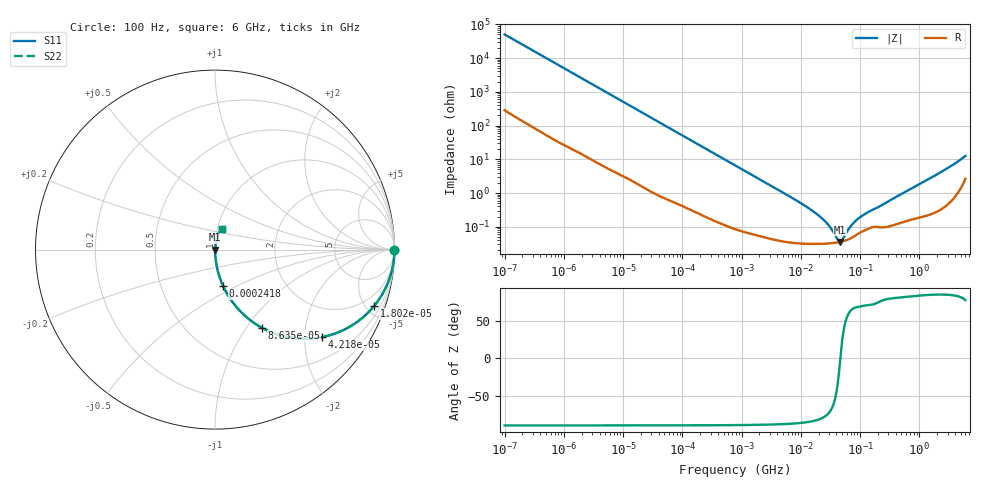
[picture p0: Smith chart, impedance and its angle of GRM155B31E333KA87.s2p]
!Murata Part Number: GRM155B31E333KA87
!These Parameters are Measured in Series Mode Connection
!Data Generated on Mar 30, 2021
!  o--ll--o
!Port1  Port2
!  o------o
!Operation Temp=25[degC], DC Bias Voltage=0[V]
!Freq. Start=100[Hz] Stop=6[GHz] 401[Steps]
# Hz S RI R 50
!Freq.(Hz) S11(Real) S11(Imag) S21(Real) S21(Imag) S12(Real) S12(Imag) S22(Real) S22(Imag)
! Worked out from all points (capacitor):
!   401 points, 100 Hz to 6 GHz, reference 50 ohm
!   read as one part in series: C = 31.8 nF near 109 Hz
!   lowest |Z| = 35.8 mohm at 45.56 MHz (marker M1)
!   series resonance near 46.48 MHz, so ESL is about 370 pH
!   S11 on the Smith chart (normalised r, x): 100 Hz: open; 18.02 kHz: 1.04, -5.65; 42.18 kHz: 1.02, -2.42; 86.35 kHz: 1.01, -1.19; 241.8 kHz: 1.00, -0.43; 6 GHz: 1.05, +0.25
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100  1 -0.002  1.54e-05 0.002  1.54e-05 0.002  1 -0.002
2008  0.9982 -0.0397  0.0018 0.0397  0.0018 0.0397  0.9982 -0.0397
6728  0.982 -0.1302  0.018 0.1302  0.018 0.1302  0.982 -0.1302
18016  0.8872 -0.3132  0.1128 0.3132  0.1128 0.3132  0.8872 -0.3132
26957  0.7801 -0.411  0.2199 0.411  0.2199 0.411  0.7801 -0.411
40335  0.615 -0.4833  0.385 0.4833  0.385 0.4833  0.615 -0.4833
42182  0.5938 -0.4878  0.4062 0.4878  0.4062 0.4878  0.5938 -0.4878
86348  0.2619 -0.4358  0.7381 0.4358  0.7381 0.4358  0.2619 -0.4358
141303  0.1187 -0.3192  0.8813 0.3192  0.8813 0.3192  0.1187 -0.3192
241822  0.0451 -0.2029  0.9549 0.2029  0.9549 0.2029  0.0451 -0.2029
774597  0.00529 -0.0664  0.9947 0.0664  0.9947 0.0664  0.00529 -0.0664
1.555665e7  0.00032 -0.003  0.9997 0.003  0.9997 0.003  0.00032 -0.003
2.662322e7  0.000319 -0.00133  0.9997 0.00133  0.9997 0.00133  0.000319 -0.00133
3.330331e7  0.000328 -0.000769  0.9997 0.000769  0.9997 0.000769  0.000328 -0.000769
4.165952e7  0.000345 -0.000248  0.9997 0.000248  0.9997 0.000248  0.000345 -0.000248
4.556224e7  0.000355 -4.47e-05  0.9996 4.47e-05  0.9996 4.47e-05  0.000355 -4.47e-05
4.983056e7  0.000368 0.000159  0.9996 -0.000159  0.9996 -0.000159  0.000368 0.000159
6.817316e7  0.000449 0.000887  0.9996 -0.000887  0.9996 -0.000887  0.000449 0.000887
9.326766e7  0.00063 0.00164  0.9994 -0.00164  0.9994 -0.00164  0.00063 0.00164
3.124326e8  0.00107 0.00584  0.9989 -0.00584  0.9989 -0.00584  0.00107 0.00584
1.95892e9  0.00399 0.0349  0.996 -0.0349  0.996 -0.0349  0.00399 0.0349
6e9  0.0393 0.1153  0.9607 -0.1153  0.9607 -0.1153  0.0393 0.1153
